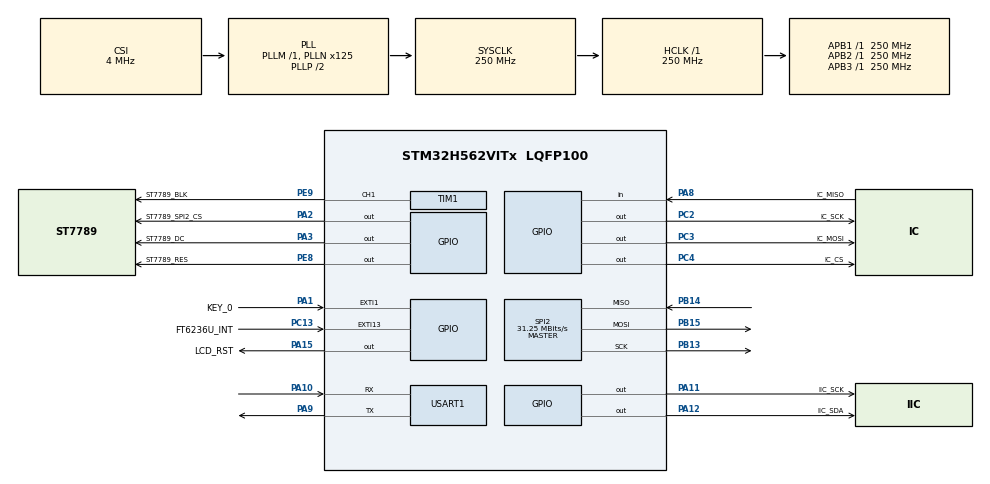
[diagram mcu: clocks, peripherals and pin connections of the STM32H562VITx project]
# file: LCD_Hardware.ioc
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ADC1.Channel-0\#ChannelRegularConversion=ADC_CHANNEL_TEMPSENSOR
ADC1.MonitoredBy-0\#ChannelRegularConversion=__NULL
ADC1.NbrOfConversionFlag=1
ADC1.OffsetNumber-0\#ChannelRegularConversion=ADC_OFFSET_NONE
ADC1.Rank-0\#ChannelRegularConversion=1
ADC1.SamplingTime-0\#ChannelRegularConversion=ADC_SAMPLETIME_2CYCLES_5
ADC1.master=1
BOOTPATH.BootPathName=LEGACY
BOOTPATH.UserSelectedBootPath=LEGACY
CORTEX_M33_NS.userName=CORTEX_M33
FLASH.OB_Product_State_active=false
IWDG.Prescaler=IWDG_PRESCALER_32
Mcu.Family=STM32H5
Mcu.Name=STM32H562VITx
Mcu.Package=LQFP100
NVIC.EXTI13_IRQn=true\:6\:0\:true\:false\:true\:true\:true\:true
NVIC.EXTI1_IRQn=true\:2\:0\:true\:false\:true\:true\:true\:true
NVIC.PriorityGroup=NVIC_PRIORITYGROUP_4
NVIC.SPI2_IRQn=true\:1\:0\:true\:false\:true\:true\:true\:true
NVIC.TIM2_IRQn=true\:1\:0\:true\:false\:true\:false\:true\:true
NVIC.TimeBase=TIM2_IRQn
NVIC.TimeBaseIP=TIM2
NVIC.USART1_IRQn=true\:3\:0\:true\:false\:true\:true\:true\:true
PA1.GPIO_Label=KEY_0
PA1.GPIO_ModeDefaultEXTI=GPIO_MODE_IT_FALLING
PA1.GPIO_PuPd=GPIO_PULLUP
PA1.Signal=GPXTI1
PA10.Mode=Asynchronous
PA10.Signal=USART1_RX
PA11.GPIO_Label=IIC_SCK
PA11.GPIO_ModeDefaultOutputPP=GPIO_MODE_OUTPUT_OD
PA11.GPIO_PuPd=GPIO_PULLUP
PA11.GPIO_Speed=GPIO_SPEED_FREQ_HIGH
PA11.Signal=GPIO_Output
PA12.GPIO_Label=IIC_SDA
PA12.GPIO_ModeDefaultOutputPP=GPIO_MODE_OUTPUT_OD
PA12.GPIO_PuPd=GPIO_PULLUP
PA12.GPIO_Speed=GPIO_SPEED_FREQ_HIGH
PA12.Signal=GPIO_Output
PA15(JTDI).GPIO_Label=LCD_RST
PA15(JTDI).GPIO_PuPd=GPIO_PULLDOWN
PA15(JTDI).Signal=GPIO_Output
PA2.GPIO_Label=ST7789_SPI2_CS
PA2.GPIO_PuPd=GPIO_NOPULL
PA2.PinState=GPIO_PIN_SET
PA2.Signal=GPIO_Output
PA3.GPIO_Label=ST7789_DC
PA3.PinState=GPIO_PIN_RESET
PA3.Signal=GPIO_Output
PA8.GPIO_Label=IC_MISO
PA8.GPIO_PuPd=GPIO_PULLUP
PA8.Signal=GPIO_Input
PA9.Mode=Asynchronous
PA9.Signal=USART1_TX
PB13.GPIO_Speed=GPIO_SPEED_FREQ_VERY_HIGH
PB13.Mode=Full_Duplex_Master
PB13.Signal=SPI2_SCK
PB14.GPIO_Speed=GPIO_SPEED_FREQ_VERY_HIGH
PB14.Mode=Full_Duplex_Master
PB14.Signal=SPI2_MISO
PB15.GPIO_Speed=GPIO_SPEED_FREQ_VERY_HIGH
PB15.Mode=Full_Duplex_Master
PB15.Signal=SPI2_MOSI
PC13.GPIO_Label=FT6236U_INT
PC13.GPIO_ModeDefaultEXTI=GPIO_MODE_IT_FALLING
PC13.GPIO_PuPd=GPIO_PULLUP
PC13.Signal=GPXTI13
PC14-OSC32_IN(OSC32_IN).Mode=LSE-External-Oscillator
PC14-OSC32_IN(OSC32_IN).Signal=RCC_OSC32_IN
PC15-OSC32_OUT(OSC32_OUT).Mode=LSE-External-Oscillator
PC15-OSC32_OUT(OSC32_OUT).Signal=RCC_OSC32_OUT
PC2.GPIO_Label=IC_SCK
PC2.Signal=GPIO_Output
PC3.GPIO_Label=IC_MOSI
PC3.Signal=GPIO_Output
PC4.GPIO_Label=IC_CS
PC4.PinState=GPIO_PIN_SET
PC4.Signal=GPIO_Output
PE8.GPIO_Label=ST7789_RES
PE8.GPIO_PuPd=GPIO_PULLUP
PE8.PinState=GPIO_PIN_SET
PE8.Signal=GPIO_Output
PE9.GPIO_Label=ST7789_BLK
PE9.Signal=S_TIM1_CH1
PH0-OSC_IN(PH0).Mode=HSE-External-Oscillator
PH0-OSC_IN(PH0).Signal=RCC_OSC_IN
PH1-OSC_OUT(PH1).Mode=HSE-External-Oscillator
PH1-OSC_OUT(PH1).Signal=RCC_OSC_OUT
ProjectManager.HeapSize=0x200
ProjectManager.StackSize=0x400
ProjectManager.TargetToolchain=MDK-ARM V5.27
RCC.ADCFreq_Value=250000000
RCC.AHBFreq_Value=250000000
RCC.APB1Freq_Value=250000000
RCC.APB1TimFreq_Value=250000000
RCC.APB2Freq_Value=250000000
RCC.APB2TimFreq_Value=250000000
RCC.APB3Freq_Value=250000000
RCC.CSI_VALUE=4000000
RCC.CortexFreq_Value=250000000
RCC.EPOD_VALUE=4000000
RCC.HCLKFreq_Value=250000000
RCC.HSE_VALUE=25000000
RCC.HSI48_VALUE=48000000
RCC.HSI_VALUE=64000000
RCC.LSIRC_VALUE=32000
RCC.PLL1Q=4
RCC.PLL2FRACN=0
RCC.PLL3FRACN=0
RCC.PLLFRACN=0
RCC.PLLN=125
RCC.SYSCLKFreq_VALUE=250000000
RCC.SYSCLKSource=RCC_SYSCLKSOURCE_PLLCLK
RCC.USBFreq_Value=48000000
RCC.VCOOutputFreq_Value=500000000
SH.S_TIM1_CH1.0=TIM1_CH1,PWM Generation1 CH1
SPI2.BaudRatePrescaler=SPI_BAUDRATEPRESCALER_4
SPI2.CalculateBaudRate=31.25 MBits/s
SPI2.DataSize=SPI_DATASIZE_8BIT
SPI2.Direction=SPI_DIRECTION_2LINES
SPI2.MasterInterDataIdleness=SPI_MASTER_INTERDATA_IDLENESS_04CYCLE
SPI2.MasterSSIdleness=SPI_MASTER_SS_IDLENESS_04CYCLE
SPI2.Mode=SPI_MODE_MASTER
SPI2.VirtualType=VM_MASTER
STMicroelectronics.X-CUBE-FREERTOS.1.3.1.configCHECK_FOR_STACK_OVERFLOW=1
STMicroelectronics.X-CUBE-FREERTOS.1.3.1.configGENERATE_RUN_TIME_STATS=1
STMicroelectronics.X-CUBE-FREERTOS.1.3.1.configHEAP_CLEAR_MEMORY_ON_FREE=1
STMicroelectronics.X-CUBE-FREERTOS.1.3.1.configRECORD_STACK_HIGH_ADDRESS=1
STMicroelectronics.X-CUBE-FREERTOS.1.3.1.configSTACK_ALLOCATION_FROM_SEPARATE_HEAP=0
STMicroelectronics.X-CUBE-FREERTOS.1.3.1.configTIMER_TASK_PRIORITY=5
STMicroelectronics.X-CUBE-FREERTOS.1.3.1.configUSE_DAEMON_TASK_STARTUP_HOOK=0
STMicroelectronics.X-CUBE-FREERTOS.1.3.1.configUSE_IDLE_HOOK=1
STMicroelectronics.X-CUBE-FREERTOS.1.3.1.configUSE_MALLOC_FAILED_HOOK=1
STMicroelectronics.X-CUBE-FREERTOS.1.3.1.configUSE_TICKLESS_IDLE=1
TIM1.AutoReloadPreload=TIM_AUTORELOAD_PRELOAD_ENABLE
TIM1.Channel-PWM\ Generation1\ CH1=TIM_CHANNEL_1
TIM1.PeriodNoDither=10000
TIM1.Prescaler=25000
TIM1.TIM_MasterSlaveMode=TIM_MASTERSLAVEMODE_ENABLE
USART1.VirtualMode-Asynchronous=VM_ASYNC
VP_ADC1_TempSens_Input.Mode=IN-TempSens
VP_BOOTPATH_VS_BOOTPATH.Mode=BP_Activate
VP_CORTEX_M33_NS_VS_Hclk.Mode=Hclk_Mode
VP_CRC_VS_CRC.Mode=CRC_Activate
VP_FLASH_SIG_Activate_FlashIP.Mode=Activate_FlashIP
VP_IWDG_VS_IWDG.Mode=IWDG_Activate
VP_MEMORYMAP_VS_MEMORYMAP.Mode=CurAppReg
VP_PWR_VS_LPOM.Mode=PowerOptimisation
VP_PWR_VS_SECSignals.Mode=Security/Privilege
VP_SYS_VS_tim2.Mode=TIM2
board=custom

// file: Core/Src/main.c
/* USER CODE BEGIN Header */
/**
 ******************************************************************************
 * @file           : main.c
 * @brief          : Main program body
 ******************************************************************************
 * @attention
 *
 * Copyright (c) 2025 STMicroelectronics.
 * All rights reserved.
 *
 * This software is licensed under terms that can be found in the LICENSE file
 * in the root directory of this software component.
 * If no LICENSE file comes with this software, it is provided AS-IS.
 *
 ******************************************************************************
 */
/* USER CODE END Header */
#include "main.h"
#include "adc.h"
#include "crc.h"
#include "flash.h"
#include "iwdg.h"
#include "spi.h"
#include "tim.h"
#include "usart.h"
#include "gpio.h"

/* USER CODE BEGIN Includes */
#include "Inf_ST7785_LCD.h"
#include "app.h"
#include "Inf_ST7789_LCD.h"
#include "Inf_FT6236.h"
/* USER CODE END Includes */

void SystemClock_Config(void);
/* USER CODE BEGIN PFP */

/* ? Idle Task ?????? */
void vApplicationGetIdleTaskMemory(StaticTask_t **ppxIdleTaskTCBBuffer,
                                   StackType_t **ppxIdleTaskStackBuffer,
                                   uint32_t *pulIdleTaskStackSize)
{
  /* ???? TCB ? Stack ???,??? static ???????????????? */
  static StaticTask_t xIdleTaskTCB;
  static StackType_t uxIdleTaskStack[configMINIMAL_STACK_SIZE];

  /* ???????? FreeRTOS ?? */
  *ppxIdleTaskTCBBuffer = &xIdleTaskTCB;
  *ppxIdleTaskStackBuffer = uxIdleTaskStack;
  *pulIdleTaskStackSize = configMINIMAL_STACK_SIZE;
}

/* ? Timer Service Task ?????? */
void vApplicationGetTimerTaskMemory(StaticTask_t **ppxTimerTaskTCBBuffer,
                                    StackType_t **ppxTimerTaskStackBuffer,
                                    uint32_t *pulTimerTaskStackSize)
{
  /* ???? TCB ? Stack ??? */
  static StaticTask_t xTimerTaskTCB;
  static StackType_t uxTimerTaskStack[configTIMER_TASK_STACK_DEPTH];

  /* ???????? FreeRTOS ?? */
  *ppxTimerTaskTCBBuffer = &xTimerTaskTCB;
  *ppxTimerTaskStackBuffer = uxTimerTaskStack;
  *pulTimerTaskStackSize = configTIMER_TASK_STACK_DEPTH;
}
/* USER CODE END PFP */

/* USER CODE BEGIN 0 */
/**
 * @brief  初始化DWT周期计数器（STM32H562专用）
 * @note   必须在main函数开头、系统时钟配置完成后调用一次
 */
void DWT_Init(void)
{
    // 1. 使能CoreSight调试模块全局开关（Cortex-M33与M4完全兼容）
    CoreDebug->DEMCR |= CoreDebug_DEMCR_TRCENA_Msk;

    // 2. 使能CYCCNT周期计数器
    DWT->CTRL |= DWT_CTRL_CYCCNTENA_Msk;

    // 3. 清零计数器（可选，不影响溢出处理）
    DWT->CYCCNT = 0;

    // 4. H562额外：可选使能ITM模块（用于printf调试输出）
    // ITM->TCR |= ITM_TCR_ITMENA_Msk;
}
/* USER CODE END 0 */

int main(void)
{

  /* MCU Configuration--------------------------------------------------------*/

  /* Reset of all peripherals, Initializes the Flash interface and the Systick. */
  HAL_Init();

  /* Configure the system clock */
  SystemClock_Config();

  /* Initialize all configured peripherals */
  MX_GPIO_Init();
  MX_FLASH_Init();
  MX_IWDG_Init();
  MX_CRC_Init();
  MX_USART1_UART_Init();
  MX_TIM1_Init();
  MX_SPI2_Init();
  MX_ADC1_Init();
  /* USER CODE BEGIN 2 */
	DWT_Init();//
  // LCD_BK_HIGH;
  // LCD_Start();

   printf("helloword================\r\n");

   app_start();
  //===========================ST7789初始屏幕测试TEST===========================
  // ST7789_LCD_Init();

  // ST7789_LCD_ShowString(10, 20, 50, 50, 24, "HelloHelloHeoHello");
  // 画线测试
  // ST7789_LCD_DrawLine_Width(230, 20, 110, 20, 5, RED);

  // 画线测试
  // ST7789_LCD_DrawLine_Width(20, 10, 20, 100, 4, BLUE);

  // 画线测试
  // ST7789_LCD_DrawLine_Width(10, 10, 50, 50, 5, YELLOW);
  // printf("lcd show ending\r\n");
  /* USER CODE END 2 */

  /* Infinite loop */
  /* USER CODE BEGIN WHILE */
  while (1)
  {
     HAL_IWDG_Refresh(&hiwdg); // 喂看门狗
    // HAL_Delay(1000);
		//=================触摸屏测试
		if(TPR_Structure.TouchSta &TP_COORD_UD)		//触摸按下
		{
			TPR_Structure.TouchSta &= ~TP_COORD_UD;	//清楚标记
			FT6236_Scan();							//读取坐标
		 	//while((USART1->SR&0X40)==0);			//Í¨¹ý´®¿Ú1´òÓ¡´¥Ãþ×ø±êµ½µçÄÔÉÏ
			printf("x轴坐标:\t%d\r\n",TPR_Structure.x[0]);
			//while((USART1->SR&0X40)==0);
			printf("Y轴坐标:\t%d\r\n",TPR_Structure.y[0]);
		}
    /* USER CODE END WHILE */

  }
}

void SystemClock_Config(void)
{
  RCC_OscInitTypeDef RCC_OscInitStruct = {0};
  RCC_ClkInitTypeDef RCC_ClkInitStruct = {0};

  /** Configure the main internal regulator output voltage
  */
  __HAL_PWR_VOLTAGESCALING_CONFIG(PWR_REGULATOR_VOLTAGE_SCALE0);

  while(!__HAL_PWR_GET_FLAG(PWR_FLAG_VOSRDY)) {}

  /** Initializes the RCC Oscillators according to the specified parameters
  * in the RCC_OscInitTypeDef structure.
  */
  RCC_OscInitStruct.OscillatorType = RCC_OSCILLATORTYPE_LSI|RCC_OSCILLATORTYPE_CSI;
  RCC_OscInitStruct.LSIState = RCC_LSI_ON;
  RCC_OscInitStruct.CSIState = RCC_CSI_ON;
  RCC_OscInitStruct.CSICalibrationValue = RCC_CSICALIBRATION_DEFAULT;
  RCC_OscInitStruct.PLL.PLLState = RCC_PLL_ON;
  RCC_OscInitStruct.PLL.PLLSource = RCC_PLL1_SOURCE_CSI;
  RCC_OscInitStruct.PLL.PLLM = 1;
  RCC_OscInitStruct.PLL.PLLN = 125;
  RCC_OscInitStruct.PLL.PLLP = 2;
  RCC_OscInitStruct.PLL.PLLQ = 4;
  RCC_OscInitStruct.PLL.PLLR = 2;
  RCC_OscInitStruct.PLL.PLLRGE = RCC_PLL1_VCIRANGE_2;
  RCC_OscInitStruct.PLL.PLLVCOSEL = RCC_PLL1_VCORANGE_WIDE;
  RCC_OscInitStruct.PLL.PLLFRACN = 0;
  if (HAL_RCC_OscConfig(&RCC_OscInitStruct) != HAL_OK)
  {
    Error_Handler();
  }

  /** Initializes the CPU, AHB and APB buses clocks
  */
  RCC_ClkInitStruct.ClockType = RCC_CLOCKTYPE_HCLK|RCC_CLOCKTYPE_SYSCLK
                              |RCC_CLOCKTYPE_PCLK1|RCC_CLOCKTYPE_PCLK2
                              |RCC_CLOCKTYPE_PCLK3;
  RCC_ClkInitStruct.SYSCLKSource = RCC_SYSCLKSOURCE_PLLCLK;
  RCC_ClkInitStruct.AHBCLKDivider = RCC_SYSCLK_DIV1;
  RCC_ClkInitStruct.APB1CLKDivider = RCC_HCLK_DIV1;
  RCC_ClkInitStruct.APB2CLKDivider = RCC_HCLK_DIV1;
  RCC_ClkInitStruct.APB3CLKDivider = RCC_HCLK_DIV1;

  if (HAL_RCC_ClockConfig(&RCC_ClkInitStruct, FLASH_LATENCY_5) != HAL_OK)
  {
    Error_Handler();
  }

  /** Configure the programming delay
  */
  __HAL_FLASH_SET_PROGRAM_DELAY(FLASH_PROGRAMMING_DELAY_2);
}

void HAL_TIM_PeriodElapsedCallback(TIM_HandleTypeDef *htim)
{
  if (htim->Instance == TIM2)
  {
    HAL_IncTick();
  }
}

void Error_Handler(void)
{
  __disable_irq();
  while (1)
  {
  }
}
